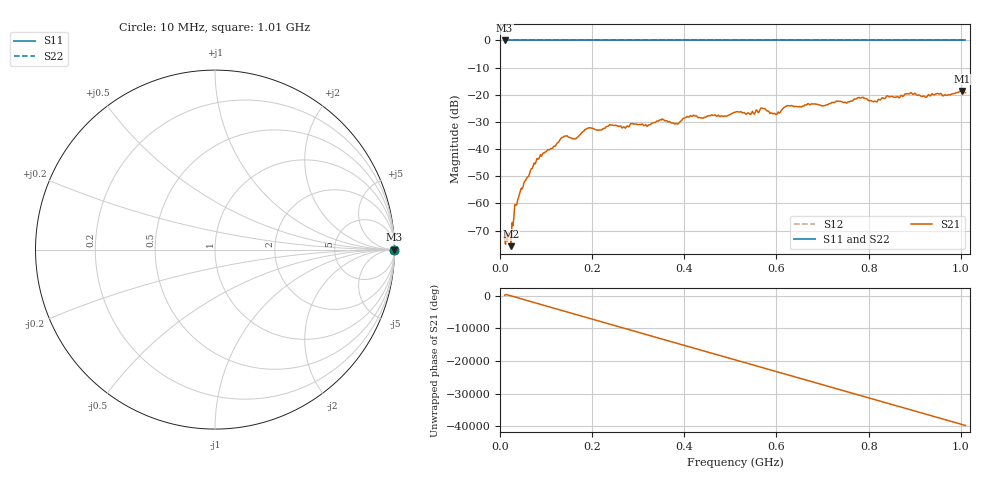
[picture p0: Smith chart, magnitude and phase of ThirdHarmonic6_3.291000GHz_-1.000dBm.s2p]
! 8/17/2025 10:14:11 AM
! C:\ANRITSUVNA\TEMP\TEMP.S2P
! CHANNEL.1
! TR.MEASUREMENT
! RAW.DATA
! RF.CORRECTION.OFF
! AVERAGING.OFF
! IF.BANDWIDTH: 5KHZ
! SWEEPTYPE:  FREQ.SWEEP(Linear)
! Reference Plane Port Info
! PORT:  PORT1  PORT2
! DISTANCE:  0  m  0  m
! TIME:  0  s  0  s
! PHASE.OFFSET:  0  deg.  0  deg.
! LOSS:  0  dB  0  dB
! REF.LOSS:  0  dB  0  dB
! REF.FREQ:  0  Hz  0  Hz
! Power Info
! POWER:  -20  dBm  -20  dBm
! EFF.POWER:  -20  dBm  -20  dBm
! SOURCE.ATTEN:  0  dB  0  dB
! TEST.ATTEN:  0  dB  0  dB
# GHZ S RI R 50.0
! FREQ.GHZ  S11RE  S11IM  S21RE  S21IM  S12RE  S12IM  S22RE  S22IM
!; PortSelection: Port_12
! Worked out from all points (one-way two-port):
!   501 points, 10 MHz to 1.01 GHz, reference 50 ohm
!   highest |S21| = -18.64 dB at 1.002 GHz (marker M1); lowest = -75.7 dB at 24 MHz (marker M2)
!   lowest |S11| = 0.0 dB at 10 MHz (marker M3)
!   |S11| at or under -10 dB: nowhere
!   |S22| runs from 0.0 to 0.0 dB; largest |S21 - S12| = 1.1
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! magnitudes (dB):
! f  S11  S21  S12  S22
! 10 MHz  0.0  -72.8  0.0  0.0
! 24 MHz  0.0  -75.7  0.0  0.0
! 34 MHz  0.0  -60.5  0.0  0.0
! 42 MHz  0.0  -56.8  0.0  0.0
! 78 MHz  0.0  -44.8  0.0  0.0
! 136 MHz  0.0  -35.7  0.0  0.0
! 162 MHz  0.0  -36.2  0.0  0.0
! 178 MHz  0.0  -33.8  0.0  0.0
! 192 MHz  0.0  -32.2  0.0  0.0
! 344 MHz  0.0  -29.6  0.0  0.0
! 382 MHz  0.0  -30.6  0.0  0.0
! 416 MHz  0.0  -28.0  0.0  0.0
! 510 MHz  0.0  -26.4  0.0  0.0
! 570 MHz  0.0  -25.0  0.0  0.0
! 598 MHz  0.0  -27.2  0.0  0.0
! 624 MHz  0.0  -24.0  0.0  0.0
! 678 MHz  0.0  -23.4  0.0  0.0
! 782 MHz  0.0  -21.2  0.0  0.0
! 814 MHz  0.0  -22.3  0.0  0.0
! 844 MHz  0.0  -20.8  0.0  0.0
! 1.002 GHz  0.0  -18.6  0.0  0.0
! 1.01 GHz  0.0  -19.2  0.0  0.0
